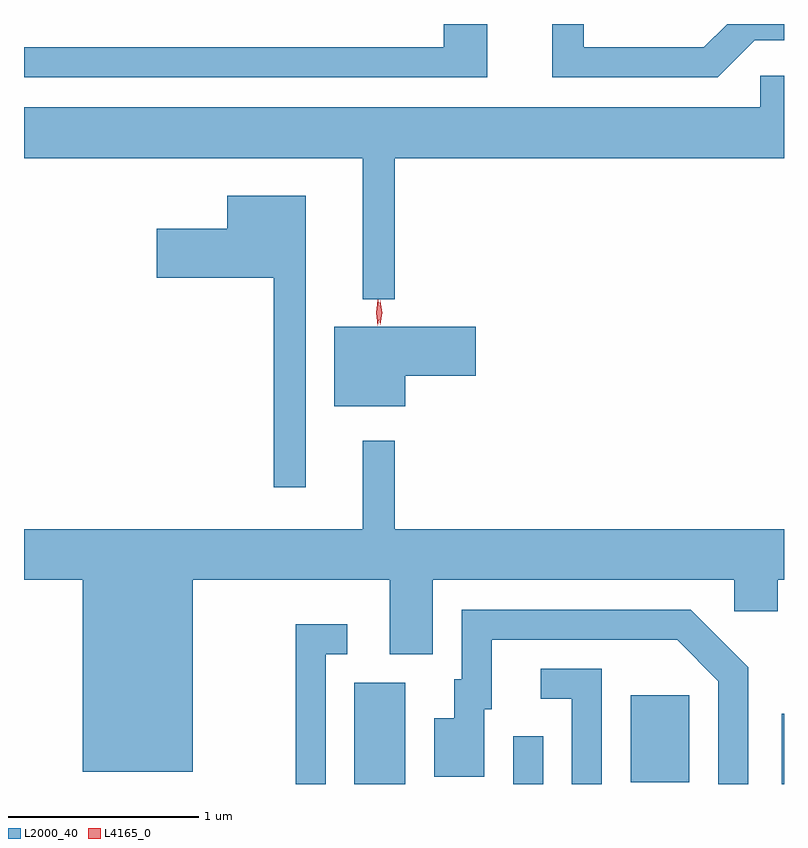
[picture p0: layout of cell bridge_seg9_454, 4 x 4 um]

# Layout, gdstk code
import gdstk
lib = gdstk.Library(unit=1e-6, precision=1e-09)
def R(c, l, rs):  # rectangles x0, y0, x1, y1
    for r in rs: c.add(gdstk.rectangle(r[:2], r[2:], *l))
def P(c, l, *ps):  # polygons
    for p in ps: c.add(gdstk.Polygon(p, *l))
L2000_40 = (2000, 40)
L4165_0 = (4165, 0)

bridge_seg9_454 = lib.new_cell('bridge_seg9_454')
R(bridge_seg9_454, L2000_40, [(526.026,2008.502,526.294,2009.034), (526.861,2008.502,527.019,2008.753), (528.276,2008.502,528.287,2008.873), (527.481,2008.511,527.789,2008.969)])
P(bridge_seg9_454, L2000_40, [(528.132,2012.416),(528.287,2012.416),(528.287,2012.502),(527.987,2012.502),(527.864,2012.379),(527.234,2012.379),(527.234,2012.502),(527.066,2012.502),(527.066,2012.221),(527.937,2012.221)],
  [(526.724,2012.502),(526.496,2012.502),(526.496,2012.379),(524.287,2012.379),(524.287,2012.221),(526.724,2012.221)],
  [(526.239,2011.796),(528.287,2011.796),(528.287,2012.229),(528.161,2012.229),(528.161,2012.064),(524.287,2012.064),(524.287,2011.796),(526.071,2011.796),(526.071,2011.053),(526.239,2011.053)],
  [(525.769,2011.599),(525.356,2011.599),(525.356,2011.424),(524.986,2011.424),(524.986,2011.166),(525.601,2011.166),(525.601,2010.063),(525.769,2010.063)],
  [(526.294,2010.651),(526.664,2010.651),(526.664,2010.909),(525.921,2010.909),(525.921,2010.491),(526.294,2010.491)],
  [(525.174,2009.576),(526.211,2009.576),(526.211,2009.186),(526.439,2009.186),(526.439,2009.576),(528.026,2009.576),(528.026,2009.411),(528.254,2009.411),(528.254,2009.576),(528.287,2009.576),(528.287,2009.844),(526.239,2009.844),(526.239,2010.308),(526.071,2010.308),(526.071,2009.844),(524.287,2009.844),(524.287,2009.576),(524.596,2009.576),(524.596,2008.566),(525.174,2008.566)],
  [(528.099,2009.117),(527.797,2009.419),(526.591,2009.419),(526.591,2009.054),(526.551,2009.054),(526.551,2008.849),(526.446,2008.849),(526.446,2008.541),(526.709,2008.541),(526.709,2008.896),(526.749,2008.896),(526.749,2009.261),(527.724,2009.261),(527.941,2009.044),(527.941,2008.502),(528.099,2008.502)],
  [(525.874,2009.186),(525.988,2009.186),(525.988,2009.344),(525.716,2009.344),(525.716,2008.502),(525.874,2008.502)],
  [(527.329,2009.109),(527.008,2009.109),(527.008,2008.951),(527.171,2008.951),(527.171,2008.502),(527.329,2008.502)])
P(bridge_seg9_454, L4165_0, [(526.161,2010.92),(526.152,2010.983),(526.161,2011.046),(526.162,2011.047),(526.162,2011.046),(526.172,2010.983),(526.162,2010.92),(526.162,2010.92)],
  [(526.149,2010.914),(526.149,2010.914),(526.14,2010.982),(526.15,2011.05),(526.151,2011.05),(526.152,2011.05),(526.16,2010.982),(526.15,2010.914)])

lib.write_gds('bridge_seg9_454.gds')
